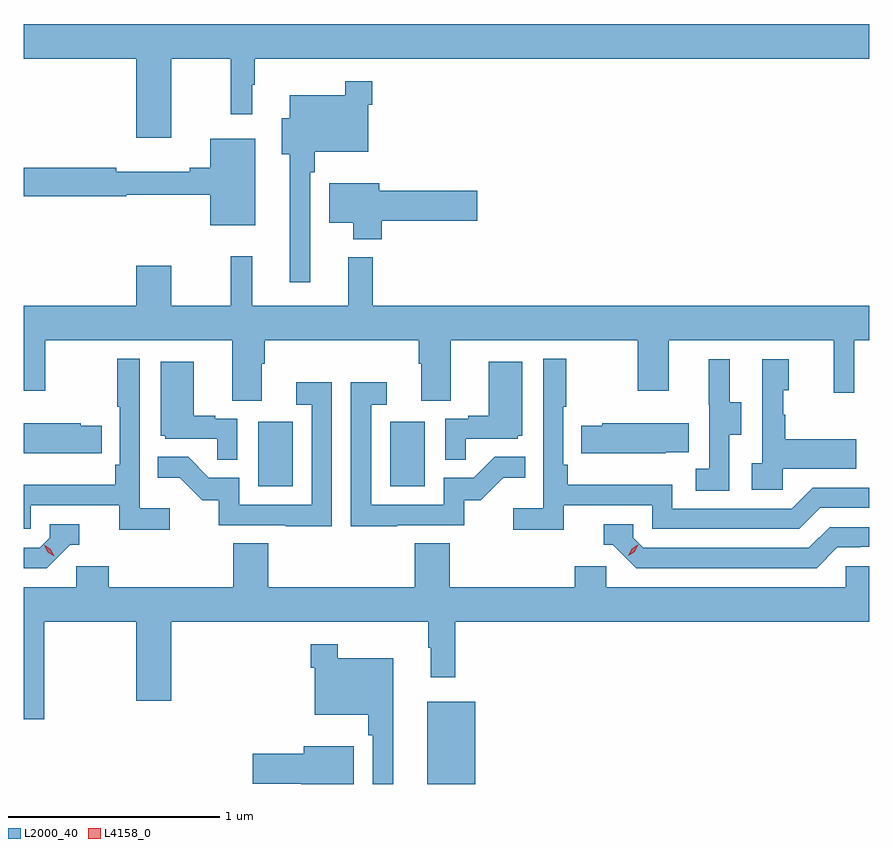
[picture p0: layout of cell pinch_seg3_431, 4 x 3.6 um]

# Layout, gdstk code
import gdstk
lib = gdstk.Library(unit=1e-6, precision=1e-09)
def R(c, l, rs):  # rectangles x0, y0, x1, y1
    for r in rs: c.add(gdstk.rectangle(r[:2], r[2:], *l))
def P(c, l, *ps):  # polygons
    for p in ps: c.add(gdstk.Polygon(p, *l))
L2000_40 = (2000, 40)
L4158_0 = (4158, 0)

pinch_seg3_431 = lib.new_cell('pinch_seg3_431')
R(pinch_seg3_431, L2000_40, [(897.653,697.484,897.88,697.873), (896.852,698.892,897.016,699.199), (897.476,698.892,897.64,699.199)])
P(pinch_seg3_431, L2000_40, [(896.44,700.916),(896.722,700.916),(896.722,700.653),(896.824,700.653),(896.824,700.793),(896.836,700.793),(896.836,700.916),(899.743,700.916),(899.743,701.08),(895.743,701.08),(895.743,700.916),(896.276,700.916),(896.276,700.542),(896.44,700.542)],
  [(897.099,700.379),(897.119,700.379),(897.119,700.475),(897.372,700.475),(897.372,700.697),(897.392,700.697),(897.392,700.81),(897.264,700.81),(897.264,700.744),(897.002,700.744),(897.002,700.633),(896.963,700.633),(896.963,700.463),(897.002,700.463),(897.002,699.858),(897.099,699.858)],
  [(896.839,700.537),(896.624,700.537),(896.624,700.4),(896.528,700.4),(896.528,700.381),(896.18,700.381),(896.18,700.4),(895.743,700.4),(895.743,700.264),(896.228,700.264),(896.228,700.272),(896.624,700.272),(896.624,700.127),(896.839,700.127)],
  [(897.437,700.15),(897.889,700.15),(897.889,700.292),(897.424,700.292),(897.424,700.327),(897.188,700.327),(897.188,700.139),(897.302,700.139),(897.302,700.061),(897.437,700.061)],
  [(896.869,699.472),(896.882,699.472),(896.882,699.584),(897.611,699.584),(897.611,699.472),(897.623,699.472),(897.623,699.298),(897.763,699.298),(897.763,699.584),(898.648,699.584),(898.648,699.345),(898.795,699.345),(898.795,699.584),(899.576,699.584),(899.576,699.336),(899.673,699.336),(899.673,699.584),(899.743,699.584),(899.743,699.748),(897.395,699.748),(897.395,699.976),(897.278,699.976),(897.278,699.748),(896.825,699.748),(896.825,699.982),(896.722,699.982),(896.722,699.748),(896.44,699.748),(896.44,699.937),(896.276,699.937),(896.276,699.748),(895.743,699.748),(895.743,699.345),(895.845,699.345),(895.845,699.584),(896.729,699.584),(896.729,699.298),(896.869,699.298)],
  [(896.434,698.788),(896.292,698.788),(896.292,699.496),(896.184,699.496),(896.184,699.268),(896.196,699.268),(896.196,698.995),(896.176,698.995),(896.176,698.899),(895.743,698.899),(895.743,698.691),(895.776,698.691),(895.776,698.802),(896.195,698.802),(896.195,698.686),(896.434,698.686)],
  [(898.298,698.802),(898.716,698.802),(898.716,698.691),(899.413,698.691),(899.512,698.79),(899.743,698.79),(899.743,698.886),(899.475,698.886),(899.376,698.787),(898.812,698.787),(898.812,698.899),(898.316,698.899),(898.316,698.995),(898.296,698.995),(898.296,699.268),(898.309,699.268),(898.309,699.496),(898.2,699.496),(898.2,698.788),(898.059,698.788),(898.059,698.686),(898.298,698.686)],
  [(899.082,699.136),(899.137,699.136),(899.137,699.291),(899.083,699.291),(899.083,699.493),(898.985,699.493),(898.985,699.279),(898.986,699.279),(898.986,698.975),(898.923,698.975),(898.923,698.872),(899.082,698.872)],
  [(899.334,698.975),(899.681,698.975),(899.681,699.115),(899.347,699.115),(899.347,699.23),(899.337,699.23),(899.337,699.348),(899.362,699.348),(899.362,699.493),(899.238,699.493),(899.238,699.002),(899.187,699.002),(899.187,698.877),(899.334,698.877)],
  [(897.833,699.117),(898.08,699.117),(898.08,699.132),(898.102,699.132),(898.102,699.481),(897.944,699.481),(897.944,699.226),(897.845,699.226),(897.845,699.213),(897.738,699.213),(897.738,699.019),(897.833,699.019)],
  [(896.754,699.213),(896.648,699.213),(896.648,699.226),(896.548,699.226),(896.548,699.481),(896.39,699.481),(896.39,699.132),(896.412,699.132),(896.412,699.117),(896.659,699.117),(896.659,699.019),(896.754,699.019)],
  [(897.509,698.709),(897.828,698.709),(897.828,698.826),(897.904,698.826),(898.011,698.933),(898.115,698.933),(898.115,699.032),(897.971,699.032),(897.873,698.934),(897.729,698.934),(897.729,698.805),(897.387,698.805),(897.387,699.279),(897.46,699.279),(897.46,699.385),(897.291,699.385),(897.291,698.704),(897.509,698.704)],
  [(897.201,699.385),(897.033,699.385),(897.033,699.279),(897.105,699.279),(897.105,698.805),(896.763,698.805),(896.763,698.934),(896.619,698.934),(896.521,699.032),(896.377,699.032),(896.377,698.933),(896.481,698.933),(896.588,698.826),(896.665,698.826),(896.665,698.709),(896.983,698.709),(896.983,698.704),(897.201,698.704)],
  [(896.111,699.18),(896.013,699.18),(896.013,699.19),(895.743,699.19),(895.743,699.05),(896.111,699.05)],
  [(898.781,699.053),(898.889,699.053),(898.889,699.19),(898.479,699.19),(898.479,699.18),(898.381,699.18),(898.381,699.05),(898.781,699.05)],
  [(895.962,698.616),(896.005,698.616),(896.005,698.712),(895.866,698.712),(895.866,698.649),(895.818,698.601),(895.743,698.601),(895.743,698.505),(895.851,698.505)],
  [(899.593,698.604),(899.7,698.604),(899.7,698.607),(899.743,698.607),(899.743,698.7),(899.556,698.7),(899.457,698.601),(898.674,698.601),(898.626,698.649),(898.626,698.712),(898.487,698.712),(898.487,698.616),(898.53,698.616),(898.641,698.505),(899.494,698.505)],
  [(895.839,698.252),(896.276,698.252),(896.276,697.878),(896.44,697.878),(896.44,698.252),(897.657,698.252),(897.657,698.129),(897.668,698.129),(897.668,697.989),(897.785,697.989),(897.785,698.252),(899.743,698.252),(899.743,698.514),(899.631,698.514),(899.631,698.416),(898.5,698.416),(898.5,698.514),(898.349,698.514),(898.349,698.416),(897.758,698.416),(897.758,698.624),(897.593,698.624),(897.593,698.416),(896.9,698.416),(896.9,698.624),(896.735,698.624),(896.735,698.416),(896.144,698.416),(896.144,698.514),(895.992,698.514),(895.992,698.416),(895.743,698.416),(895.743,697.791),(895.839,697.791)],
  [(897.49,698.08),(897.229,698.08),(897.229,698.146),(897.1,698.146),(897.1,698.033),(897.12,698.033),(897.12,697.811),(897.373,697.811),(897.373,697.715),(897.393,697.715),(897.393,697.484),(897.49,697.484)],
  [(897.304,697.663),(897.068,697.663),(897.068,697.628),(896.826,697.628),(896.826,697.486),(897.056,697.486),(897.056,697.484),(897.304,697.484)])
P(pinch_seg3_431, L4158_0, [(895.887,698.561),(895.856,698.581),(895.84,698.614),(895.84,698.614),(895.841,698.614),(895.871,698.594),(895.887,698.562),(895.887,698.561)],
  [(898.602,698.563),(898.602,698.563),(898.619,698.596),(898.649,698.615),(898.65,698.615),(898.65,698.615),(898.634,698.582),(898.603,698.563)])

lib.write_gds('pinch_seg3_431.gds')
